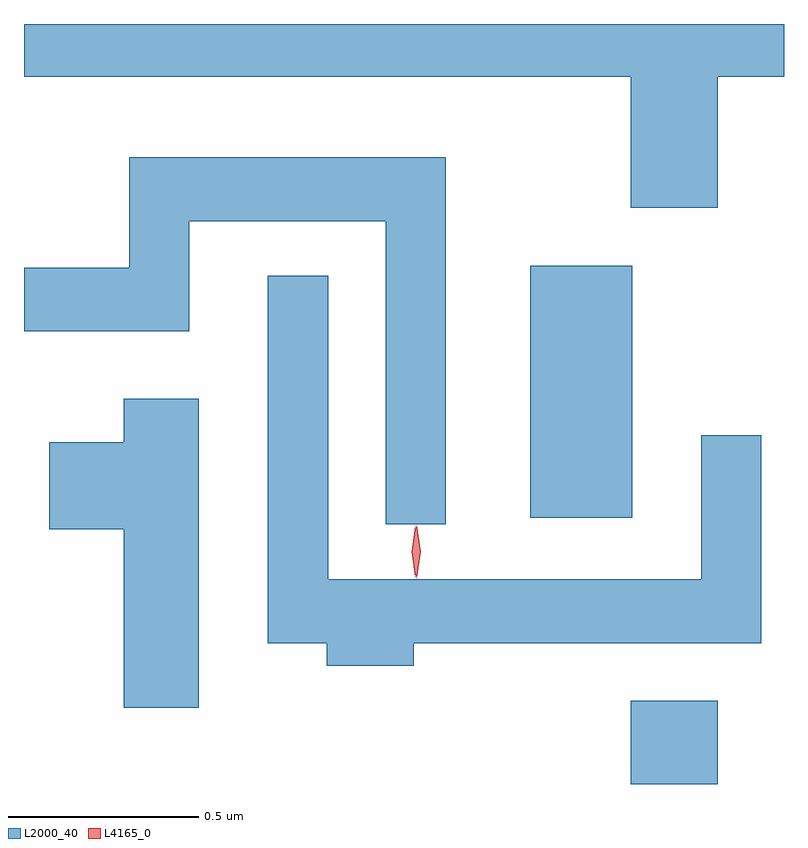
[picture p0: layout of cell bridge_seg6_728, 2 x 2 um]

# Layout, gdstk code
import gdstk
lib = gdstk.Library(unit=1e-6, precision=1e-09)
def R(c, l, rs):  # rectangles x0, y0, x1, y1
    for r in rs: c.add(gdstk.rectangle(r[:2], r[2:], *l))
def P(c, l, *ps):  # polygons
    for p in ps: c.add(gdstk.Polygon(p, *l))
L2000_40 = (2000, 40)
L4165_0 = (4165, 0)

bridge_seg6_728 = lib.new_cell('bridge_seg6_728')
R(bridge_seg6_728, L2000_40, [(403.481,1552.615,403.709,1552.834), (403.216,1553.316,403.484,1553.979)])
P(bridge_seg6_728, L2000_40, [(403.709,1554.476),(403.884,1554.476),(403.884,1554.615),(401.884,1554.615),(401.884,1554.476),(403.481,1554.476),(403.481,1554.131),(403.709,1554.131)],
  [(402.994,1554.264),(402.161,1554.264),(402.161,1553.974),(401.884,1553.974),(401.884,1553.806),(402.319,1553.806),(402.319,1554.096),(402.836,1554.096),(402.836,1553.298),(402.994,1553.298)],
  [(402.909,1552.986),(403.824,1552.986),(403.824,1553.533),(403.666,1553.533),(403.666,1553.154),(402.684,1553.154),(402.684,1553.953),(402.526,1553.953),(402.526,1552.986),(402.681,1552.986),(402.681,1552.926),(402.909,1552.926)],
  [(402.344,1553.629),(402.146,1553.629),(402.146,1553.514),(401.951,1553.514),(401.951,1553.286),(402.146,1553.286),(402.146,1552.816),(402.344,1552.816)])
P(bridge_seg6_728, L4165_0, [(402.914,1553.159),(402.913,1553.16),(402.904,1553.226),(402.913,1553.292),(402.914,1553.293),(402.914,1553.292),(402.924,1553.226),(402.914,1553.16)],
  [(402.917,1553.157),(402.908,1553.226),(402.917,1553.296),(402.918,1553.296),(402.918,1553.296),(402.928,1553.226),(402.918,1553.157),(402.918,1553.157)])

lib.write_gds('bridge_seg6_728.gds')
